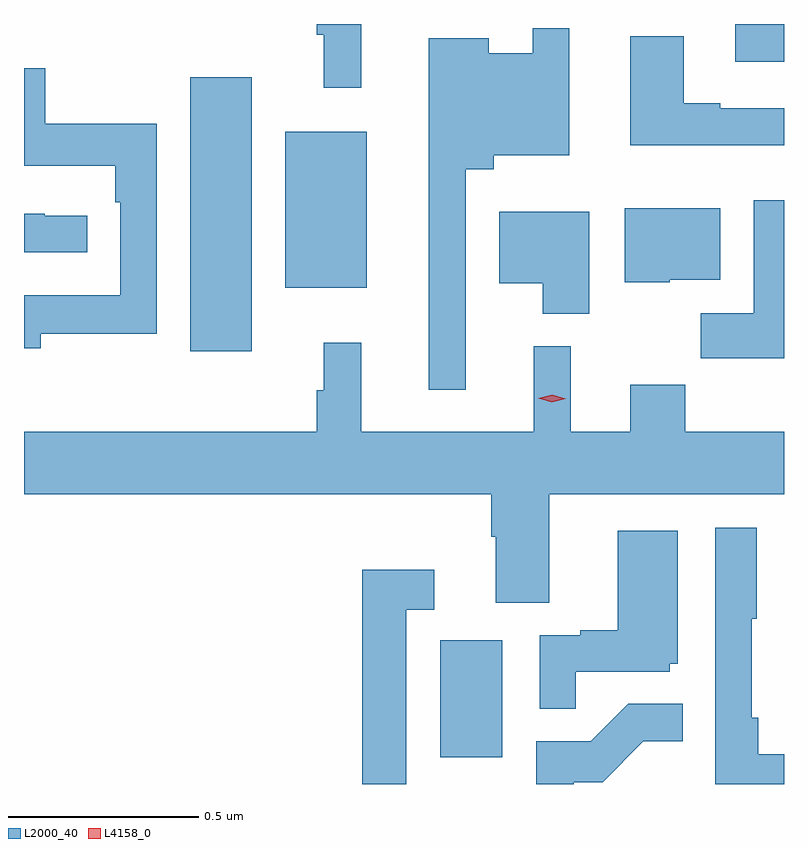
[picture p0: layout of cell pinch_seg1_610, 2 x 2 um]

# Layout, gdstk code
import gdstk
lib = gdstk.Library(unit=1e-6, precision=1e-09)
def R(c, l, rs):  # rectangles x0, y0, x1, y1
    for r in rs: c.add(gdstk.rectangle(r[:2], r[2:], *l))
def P(c, l, *ps):  # polygons
    for p in ps: c.add(gdstk.Polygon(p, *l))
L2000_40 = (2000, 40)
L4158_0 = (4158, 0)

pinch_seg1_610 = lib.new_cell('pinch_seg1_610')
R(pinch_seg1_610, L2000_40, [(1061.756,512.412,1061.92,512.719), (1061.099,513.48,1061.26,514.201), (1061.348,513.647,1061.563,514.057), (1062.533,514.242,1062.661,514.341)])
P(pinch_seg1_610, L2000_40, [(1061.548,514.341),(1061.431,514.341),(1061.431,514.313),(1061.45,514.313),(1061.45,514.173),(1061.548,514.173)],
  [(1061.823,513.959),(1061.897,513.959),(1061.897,513.995),(1062.096,513.995),(1062.096,514.33),(1062,514.33),(1062,514.264),(1061.884,514.264),(1061.884,514.303),(1061.726,514.303),(1061.726,513.378),(1061.823,513.378)],
  [(1062.661,514.119),(1062.493,514.119),(1062.493,514.132),(1062.397,514.132),(1062.397,514.309),(1062.257,514.309),(1062.257,514.022),(1062.661,514.022)],
  [(1060.705,513.526),(1061.01,513.526),(1061.01,514.078),(1060.717,514.078),(1060.717,514.224),(1060.661,514.224),(1060.661,513.968),(1060.901,513.968),(1060.901,513.872),(1060.914,513.872),(1060.914,513.627),(1060.661,513.627),(1060.661,513.488),(1060.705,513.488)],
  [(1062.661,513.877),(1062.581,513.877),(1062.581,513.58),(1062.442,513.58),(1062.442,513.462),(1062.661,513.462)],
  [(1062.36,513.668),(1062.493,513.668),(1062.493,513.856),(1062.242,513.856),(1062.242,513.662),(1062.36,513.662)],
  [(1062.148,513.847),(1061.912,513.847),(1061.912,513.659),(1062.026,513.659),(1062.026,513.578),(1062.148,513.578)],
  [(1060.828,513.837),(1060.715,513.837),(1060.715,513.842),(1060.661,513.842),(1060.661,513.741),(1060.828,513.741)],
  [(1062.043,513.104),(1062.661,513.104),(1062.661,513.268),(1062.401,513.268),(1062.401,513.392),(1062.257,513.392),(1062.257,513.268),(1062.1,513.268),(1062.1,513.493),(1062.002,513.493),(1062.002,513.268),(1061.549,513.268),(1061.549,513.502),(1061.45,513.502),(1061.45,513.377),(1061.431,513.377),(1061.431,513.268),(1060.661,513.268),(1060.661,513.104),(1061.891,513.104),(1061.891,512.992),(1061.903,512.992),(1061.903,512.818),(1062.043,512.818)],
  [(1062.661,512.419),(1062.593,512.419),(1062.593,512.515),(1062.576,512.515),(1062.576,512.776),(1062.589,512.776),(1062.589,513.016),(1062.48,513.016),(1062.48,512.341),(1062.661,512.341)],
  [(1062.113,512.637),(1062.36,512.637),(1062.36,512.658),(1062.382,512.658),(1062.382,513.007),(1062.224,513.007),(1062.224,512.746),(1062.125,512.746),(1062.125,512.733),(1062.018,512.733),(1062.018,512.539),(1062.113,512.539)],
  [(1061.667,512.799),(1061.74,512.799),(1061.74,512.905),(1061.551,512.905),(1061.551,512.341),(1061.667,512.341)],
  [(1062.108,512.346),(1062.184,512.346),(1062.291,512.453),(1062.395,512.453),(1062.395,512.552),(1062.251,512.552),(1062.153,512.454),(1062.009,512.454),(1062.009,512.341),(1062.108,512.341)])
P(pinch_seg1_610, L4158_0, [(1062.05,513.346),(1062.014,513.356),(1062.014,513.356),(1062.014,513.356),(1062.051,513.366),(1062.086,513.355),(1062.087,513.355),(1062.086,513.355)])

lib.write_gds('pinch_seg1_610.gds')
